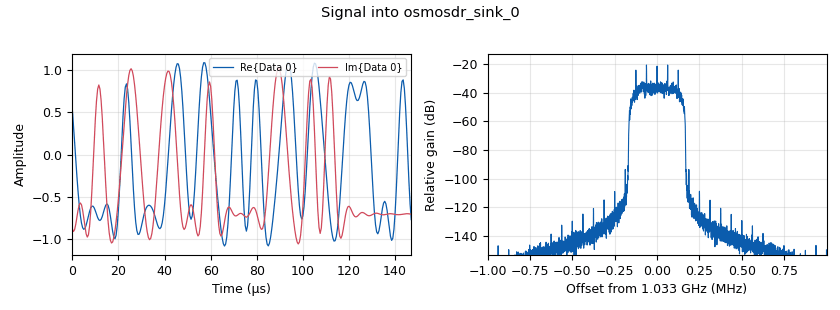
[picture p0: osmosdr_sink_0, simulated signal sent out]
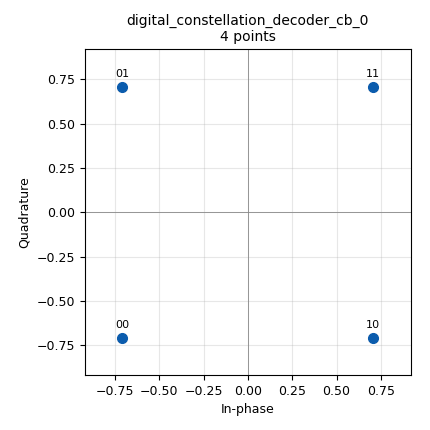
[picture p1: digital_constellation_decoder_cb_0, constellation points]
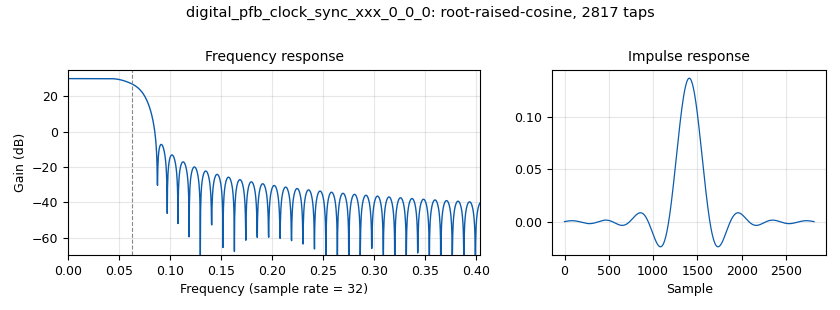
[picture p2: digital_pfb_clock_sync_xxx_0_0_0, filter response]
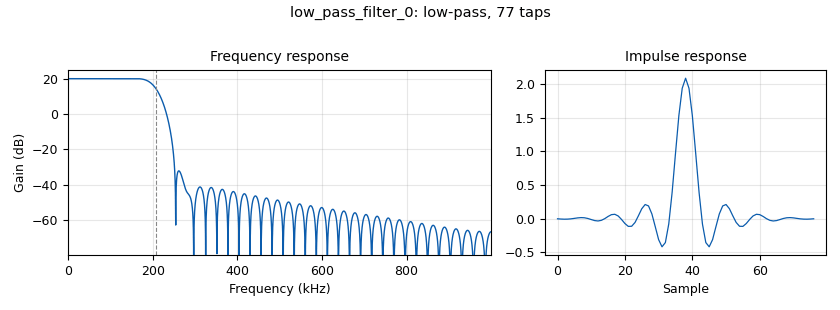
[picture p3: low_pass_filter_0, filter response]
options:
  parameters:
    generate_options: qt_gui
    id: QPSK_Tx_Rx_cleaned
    output_language: python
    title: QPSK Tx Rx Cleaned
  states: {}

blocks:
- name: arity
  id: variable
  parameters:
    value: '4'
  states: {}
- name: eq_gain
  id: variable
  parameters:
    value: '0.01'
  states: {}
- name: excess_bw
  id: variable
  parameters:
    value: '0.35'
  states: {}
- name: freq_correction
  id: variable
  parameters:
    value: '10'
  states: {}
- name: nfilts
  id: variable
  parameters:
    value: '32'
  states: {}
- name: op_freq
  id: variable
  parameters:
    value: 1033e6
  states: {}
- name: osps
  id: variable
  parameters:
    value: '1'
  states: {}
- name: path
  id: variable
  parameters:
    value: '"F:\\Ahmed Badi\\Documents\\..."'
  states: {state: disabled}
- name: phase_bw
  id: variable
  parameters:
    value: '0.0628'
  states: {}
- name: qpsk
  id: variable_constellation_rect
  parameters:
    const_points: '[-0.707-0.707j, -0.707+0.707j, +0.707-0.707j, +0.707+0.707j]'
    imag_sect: '2'
    real_sect: '2'
    rot_sym: '4'
    sym_map: '[0, 1, 2, 3]'
    w_imag_sect: '1'
    w_real_sect: '1'
  states: {}
- name: rf_gain
  id: variable
  parameters:
    value: '15'
  states: {}
- name: rrc_taps
  id: variable
  parameters:
    value: ' firdes.root_raised_cosine (nfilts, nfilts, 1.0/float(sps), 0.35, 11*sps*nfilts)'
  states: {}
- name: samp_rate
  id: variable
  parameters:
    value: int(2e6)
  states: {}
- name: sps
  id: variable
  parameters:
    value: '8'
  states: {}
- name: timing_loop_bw
  id: variable
  parameters:
    value: '0.0628'
  states: {}
- name: analog_random_source_x_0
  id: analog_random_source_x
  parameters:
    max: '64'
    min: '0'
    num_samps: int(1.25e6)
    repeat: 'False'
    type: byte
  states: {}
- name: blocks_unpack_k_bits_bb_0
  id: blocks_unpack_k_bits_bb
  parameters:
    k: '8'
  states: {}
- name: blocks_unpack_k_bits_bb_1
  id: blocks_unpack_k_bits_bb
  parameters:
    k: '2'
  states: {}
- name: digital_cma_equalizer_cc_0
  id: digital_cma_equalizer_cc
  parameters:
    modulus: '1'
    mu: eq_gain
    num_taps: '15'
    sps: osps
  states: {}
- name: digital_constellation_decoder_cb_0
  id: digital_constellation_decoder_cb
  parameters:
    constellation: qpsk
  states: {}
- name: digital_constellation_modulator_0_0
  id: digital_constellation_modulator
  parameters:
    constellation: qpsk
    differential: 'False'
    excess_bw: excess_bw
    samples_per_symbol: sps
    verbose: 'True'
  states: {}
- name: digital_costas_loop_cc_0
  id: digital_costas_loop_cc
  parameters:
    order: arity
    use_snr: 'True'
    w: phase_bw
  states: {}
- name: digital_pfb_clock_sync_xxx_0_0_0
  id: digital_pfb_clock_sync_xxx
  parameters:
    filter_size: nfilts
    init_phase: nfilts/2
    loop_bw: timing_loop_bw
    max_dev: '1.5'
    osps: osps
    sps: sps
    taps: rrc_taps
    type: ccf
  states: {}
- name: low_pass_filter_0
  id: low_pass_filter
  parameters:
    cutoff_freq: samp_rate/sps/1.2
    decim: '1'
    gain: '10'
    samp_rate: samp_rate
    type: fir_filter_ccf
    width: samp_rate/32
    win: firdes.WIN_HAMMING
  states: {}
- name: osmosdr_sink_0
  id: osmosdr_sink
  parameters:
    args: hackrf=0
    bb_gain0: '20'
    corr0: freq_correction
    freq0: op_freq
    gain0: '0'
    if_gain0: '20'
    sample_rate: samp_rate
    sync: pc_clock
    type: fc32
  states: {}
- name: rtlsdr_source_0_0
  id: rtlsdr_source
  parameters:
    args: rtl=0
    bb_gain0: '20'
    freq0: op_freq
    gain0: rf_gain
    gain_mode0: 'True'
    if_gain0: '20'
    sample_rate: samp_rate
    sync: pc_clock
    type: fc32
  states: {}
- name: virtual_sink_0_1
  id: virtual_sink
  parameters:
    stream_id: OriginalBits
  states: {}
- name: virtual_sink_0_1_0
  id: virtual_sink
  parameters:
    stream_id: ReceivedBits
  states: {}
- name: virtual_sink_0_1_0_0
  id: virtual_sink
  parameters:
    stream_id: RxSignalSynched
  states: {state: disabled}

connections:
- [analog_random_source_x_0, '0', blocks_unpack_k_bits_bb_0, '0']
- [analog_random_source_x_0, '0', digital_constellation_modulator_0_0, '0']
- [blocks_unpack_k_bits_bb_0, '0', virtual_sink_0_1, '0']
- [blocks_unpack_k_bits_bb_1, '0', virtual_sink_0_1_0, '0']
- [digital_cma_equalizer_cc_0, '0', digital_costas_loop_cc_0, '0']
- [digital_constellation_decoder_cb_0, '0', blocks_unpack_k_bits_bb_1, '0']
- [digital_constellation_modulator_0_0, '0', osmosdr_sink_0, '0']
- [digital_costas_loop_cc_0, '0', digital_constellation_decoder_cb_0, '0']
- [digital_costas_loop_cc_0, '0', virtual_sink_0_1_0_0, '0']
- [digital_pfb_clock_sync_xxx_0_0_0, '0', digital_cma_equalizer_cc_0, '0']
- [low_pass_filter_0, '0', digital_pfb_clock_sync_xxx_0_0_0, '0']
- [rtlsdr_source_0_0, '0', low_pass_filter_0, '0']

metadata:
  file_format: 1
